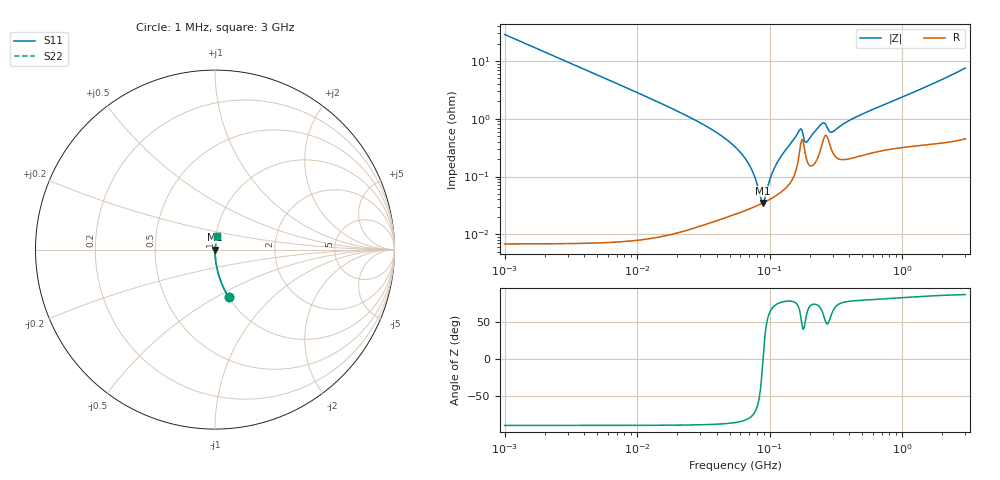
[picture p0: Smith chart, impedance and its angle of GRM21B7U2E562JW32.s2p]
!Murata Part Number: GRM21B7U2E562JW32
!These Parameters are Measured in Series Mode Connection
!Data Generated on Mar 30, 2021
!  o--ll--o
!Port1  Port2
!  o------o
!Operation Temp=25[degC], DC Bias Voltage=0[V]
!Freq. Start=1000[kHz] Stop=3[GHz] 401[Steps]
# Hz S RI R 50
!Freq.(Hz) S11(Real) S11(Imag) S21(Real) S21(Imag) S12(Real) S12(Imag) S22(Real) S22(Imag)
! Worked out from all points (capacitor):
!   401 points, 1 MHz to 3 GHz, reference 50 ohm
!   read as one part in series: C = 5.52 nF near 1.041 MHz
!   lowest |Z| = 34.9 mohm at 88.55 MHz (marker M1)
!   series resonance near 89.13 MHz, so ESL is about 580 pH
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1000000  0.0767 -0.2659  0.9233 0.2659  0.9233 0.2659  0.0767 -0.2659
3823119  0.00569 -0.0748  0.9943 0.0748  0.9943 0.0748  0.00569 -0.0748
1.461624e7  0.000456 -0.0191  0.9995 0.0191  0.9995 0.0191  0.000456 -0.0191
3.387922e7  0.000204 -0.00724  0.9998 0.00724  0.9998 0.00724  0.000204 -0.00724
5.477226e7  0.000231 -0.00327  0.9998 0.00327  0.9998 0.00327  0.000231 -0.00327
7.105049e7  0.000279 -0.00148  0.9997 0.00148  0.9997 0.00148  0.000279 -0.00148
7.697298e7  0.0003 -0.000957  0.9997 0.000957  0.9997 0.000957  0.0003 -0.000957
8.507507e7  0.000332 -0.000304  0.9997 0.000304  0.9997 0.000304  0.000332 -0.000304
8.854986e7  0.000347 -4.25e-05  0.9997 4.25e-05  0.9997 4.25e-05  0.000347 -4.25e-05
9.216659e7  0.000363 0.00022  0.9996 -0.00022  0.9996 -0.00022  0.000363 0.00022
1.018679e8  0.000411 0.000888  0.9996 -0.000888  0.9996 -0.000888  0.000411 0.000888
1.125904e8  0.000474 0.00158  0.9995 -0.00158  0.9995 -0.00158  0.000474 0.00158
1.646891e8  0.00199 0.00551  0.998 -0.00551  0.998 -0.00551  0.00199 0.00551
1.714156e8  0.00359 0.00563  0.9964 -0.00563  0.9964 -0.00563  0.00359 0.00563
1.894586e8  0.00203 0.00333  0.998 -0.00333  0.998 -0.00333  0.00203 0.00333
2.094008e8  0.00156 0.00506  0.9984 -0.00506  0.9984 -0.00506  0.00156 0.00506
2.507343e8  0.0039 0.0074  0.9961 -0.0074  0.9961 -0.0074  0.0039 0.0074
2.884452e8  0.00324 0.00484  0.9968 -0.00484  0.9968 -0.00484  0.00324 0.00484
3.002264e8  0.00259 0.00537  0.9974 -0.00537  0.9974 -0.00537  0.00259 0.00537
4.219165e8  0.00218 0.00974  0.9978 -0.00974  0.9978 -0.00974  0.00218 0.00974
8.005644e8  0.00329 0.0188  0.9967 -0.0188  0.9967 -0.0188  0.00329 0.0188
3e9  0.01 0.0743  0.99 -0.0743  0.99 -0.0743  0.01 0.0743
